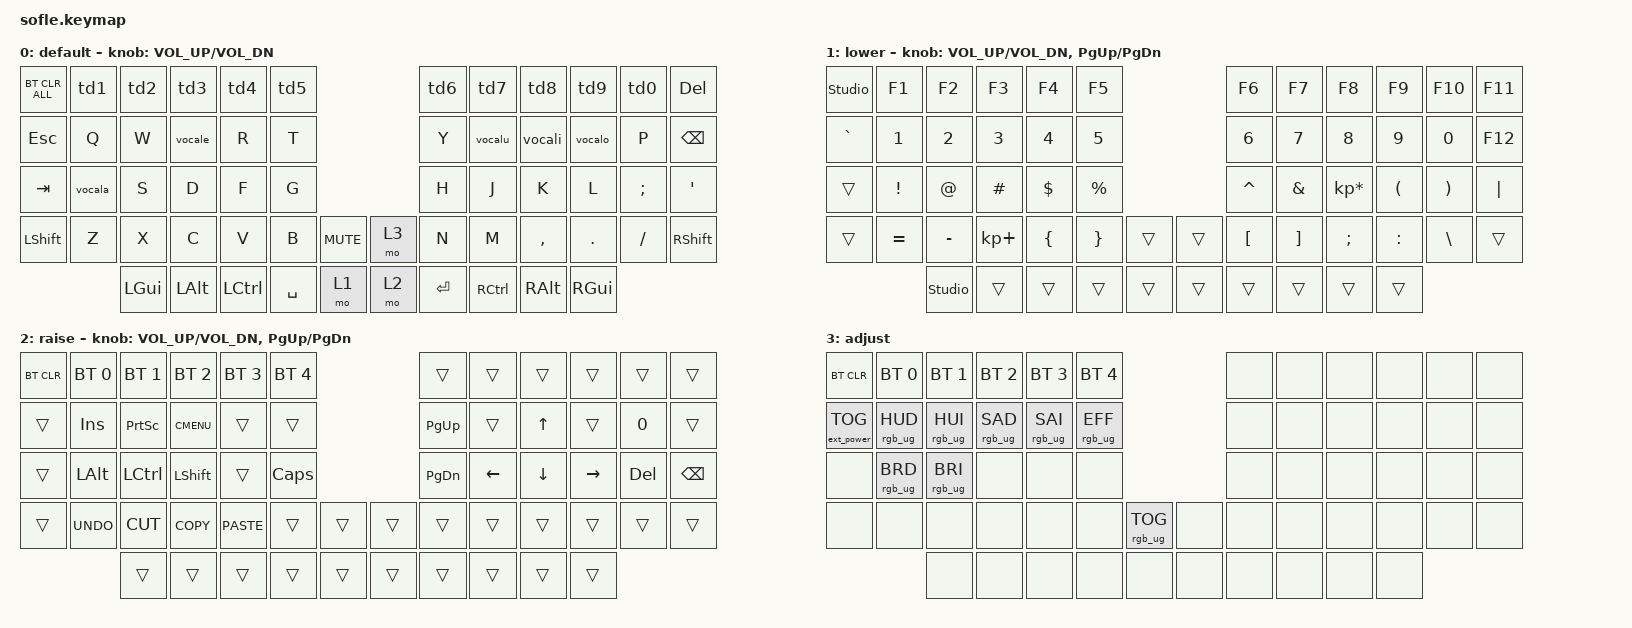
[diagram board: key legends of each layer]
/*
 * Copyright (c) 2020 The ZMK Contributors
 *
 * SPDX-License-Identifier: MIT
 */

#include <behaviors.dtsi>
#include <dt-bindings/zmk/bt.h>
#include <dt-bindings/zmk/ext_power.h>
#include <dt-bindings/zmk/keys.h>
#include <dt-bindings/zmk/pointing.h>
#include <dt-bindings/zmk/rgb.h>

#define BASE 0
#define LOWER 1
#define RAISE 2
#define ADJUST 3

/ {
    // Activate ADJUST layer by pressing raise and lower

    conditional_layers {
        compatible = "zmk,conditional-layers";

        adjust_layer {
            if-layers = <LOWER RAISE>;
            then-layer = <ADJUST>;
        };
    };

    behaviors {
        td6: tap_dance_6 {
            compatible = "zmk,behavior-tap-dance";
            #binding-cells = <0>;
            tapping-term-ms = <200>;
            bindings = <&kp NUMBER_6>, <&kp RS(NUMBER_6)>;
        };

        td1: tap_dance_1 {
            compatible = "zmk,behavior-tap-dance";
            #binding-cells = <0>;
            bindings = <&kp NUMBER_1>, <&kp RS(NUMBER_1)>;
        };

        td2: tap_dance_2 {
            compatible = "zmk,behavior-tap-dance";
            #binding-cells = <0>;
            bindings = <&kp NUMBER_2>, <&kp RS(NUMBER_2)>;
        };

        Clicks: Clicks {
            compatible = "zmk,behavior-tap-dance";
            label = "CLICKS";
            #binding-cells = <0>;
            bindings = <&mkp LCLK>, <&mkp RCLK>;
        };

        td3: td3 {
            compatible = "zmk,behavior-tap-dance";
            label = "TD3";
            #binding-cells = <0>;
            bindings = <&kp NUMBER_3>, <&kp RS(NUMBER_3)>;
        };

        td4: td4 {
            compatible = "zmk,behavior-tap-dance";
            label = "TD4";
            #binding-cells = <0>;
            bindings = <&kp NUMBER_4>, <&kp RS(NUMBER_4)>;
        };

        td5: td5 {
            compatible = "zmk,behavior-tap-dance";
            label = "TD5";
            #binding-cells = <0>;
            bindings = <&kp N5>, <&kp RS(N5)>;
        };

        td7: td7 {
            compatible = "zmk,behavior-tap-dance";
            label = "TD7";
            #binding-cells = <0>;
            bindings = <&kp N7>, <&kp RS(N7)>;
        };

        td8: td8 {
            compatible = "zmk,behavior-tap-dance";
            label = "TD8";
            #binding-cells = <0>;
            bindings = <&kp N8>, <&kp RS(N8)>;
        };

        td9: td9 {
            compatible = "zmk,behavior-tap-dance";
            label = "TD9";
            #binding-cells = <0>;
            bindings = <&kp N9>, <&kp RS(N9)>;
        };

        td0: td0 {
            compatible = "zmk,behavior-tap-dance";
            label = "TD0";
            #binding-cells = <0>;
            bindings = <&kp N0>, <&kp RS(N0)>;
        };

        tdQuest: tdQuest {
            compatible = "zmk,behavior-tap-dance";
            label = "TDQUEST";
            #binding-cells = <0>;
            bindings = <&kp RS(MINUS)>, <&kp MINUS>;
        };

        tdDot: tdDot {
            compatible = "zmk,behavior-tap-dance";
            label = "TDDOT";
            #binding-cells = <0>;
            bindings = <&kp DOT>, <&kp RS(DOT)>;
        };

        tdmouse: tdmouse {
            compatible = "zmk,behavior-sensor-rotate-var";
            label = "TDMOUSE";
            #sensor-binding-cells = <2>;
            bindings = <&msc>, <&msc>;
        };

        Arrova: Arrova {
            compatible = "zmk,behavior-tap-dance";
            label = "ARROVA";
            #binding-cells = <0>;
            bindings = <&kp Q>, <&kp RA(Q)>;
        };

        spaceEnter: spaceEnter {
            compatible = "zmk,behavior-tap-dance";
            label = "SPACEENTER";
            #binding-cells = <0>;
            bindings = <&kp SPACE>, <&kp ENTER>;
        };

        coma: coma {
            compatible = "zmk,behavior-tap-dance";
            label = "COMA";
            #binding-cells = <0>;
            bindings = <&kp COMMA>, <&kp RS(COMMA)>;
        };

        vocala: vocala {
            compatible = "zmk,behavior-tap-dance";
            label = "VOCALA";
            #binding-cells = <0>;
            bindings = <&kp A>, <&kp LEFT_BRACKET>;
        };

        vocale: vocale {
            compatible = "zmk,behavior-tap-dance";
            label = "VOCALE";
            #binding-cells = <0>;
            bindings = <&kp E>, <&kp LEFT_BRACKET>;
        };

        vocalu: vocalu {
            compatible = "zmk,behavior-tap-dance";
            label = "VOCALU";
            #binding-cells = <0>;
            bindings = <&kp U>, <&kp LEFT_BRACKET>;
        };

        vocali: vocali {
            compatible = "zmk,behavior-tap-dance";
            label = "VOCALI";
            #binding-cells = <0>;
            bindings = <&kp I>, <&kp LEFT_BRACKET>;
        };

        vocalo: vocalo {
            compatible = "zmk,behavior-tap-dance";
            label = "VOCALO";
            #binding-cells = <0>;
            bindings = <&kp O>, <&kp LEFT_BRACKET>;
        };

        pregunta: pregunta {
            compatible = "zmk,behavior-tap-dance";
            label = "PREGUNTA";
            #binding-cells = <0>;
            bindings = <&kp EQUAL>, <&kp PLUS>;
        };

        tapend: tapend {
            compatible = "zmk,behavior-tap-dance";
            label = "TAPEND";
            #binding-cells = <0>;
            bindings = <&kp RIGHT>, <&kp END>;
        };

        taphome: taphome {
            compatible = "zmk,behavior-tap-dance";
            label = "TAPHOME";
            #binding-cells = <0>;
            bindings = <&kp LEFT_ARROW>, <&kp HOME>;
        };

        tapp: tapp {
            compatible = "zmk,behavior-tap-dance";
            label = "TAPP";
            #binding-cells = <0>;
            bindings = <&kp P>, <&kp RIGHT_BRACKET>;
        };

        tdGuion: tdGuion {
            compatible = "zmk,behavior-tap-dance";
            label = "TDGUION";
            #binding-cells = <0>;
            bindings = <&kp FSLH>, <&kp RS(FSLH)>;
        };
    };

    macros {
        Empleado: Empleado {
            compatible = "zmk,behavior-macro";
            #binding-cells = <0>;
            bindings = <&kp N1 &kp N1 &kp N1 &kp N6 &kp N2 &kp N2 &kp N7>;
            label = "EMPLEADO";
        };

        Password: Password {
            compatible = "zmk,behavior-macro";
            #binding-cells = <0>;
            bindings = <&kp STAR &kp L &kp A &kp J &kp U &kp LS(R) &kp N9 &kp N9 &kp N2 &kp N4 &kp UNDER &kp D &kp F &kp LS(N) &kp E>;
            label = "PASSWORD";
        };

        Password2: Password2 {
            compatible = "zmk,behavior-macro";
            #binding-cells = <0>;
            bindings = <&kp STAR &kp L &kp A &kp J &kp U &kp LS(R) &kp N9 &kp N9 &kp N2 &kp N4>;
            label = "PASSWORD2";
        };

        gitadd: gitadd {
            compatible = "zmk,behavior-macro";
            #binding-cells = <0>;
            bindings = <&kp G &kp I &kp T &kp SPACE &kp A &kp D &kp D &kp SPACE>;
            label = "GITADD";
        };

        gitstatus: gitstatus {
            compatible = "zmk,behavior-macro";
            #binding-cells = <0>;
            bindings = <&kp G &kp I &kp T &kp SPACE &kp S &kp T &kp A &kp T &kp U &kp S &kp RET>;
            label = "GITSTATUS";
        };

        gitcommit: gitcommit {
            compatible = "zmk,behavior-macro";
            #binding-cells = <0>;
            bindings = <&kp G &kp I &kp T &kp SPACE &kp C &kp O &kp M &kp M &kp I &kp T &kp SPACE &kp MINUS &kp M &kp SPACE>;
            label = "GITCOMMIT";
        };

        gitpull: gitpull {
            compatible = "zmk,behavior-macro";
            #binding-cells = <0>;
            bindings = <&kp G &kp I &kp T &kp SPACE &kp P &kp U &kp L &kp L>;
            label = "GITPULL";
        };

        gitpush: gitpush {
            compatible = "zmk,behavior-macro";
            #binding-cells = <0>;
            bindings = <&kp G &kp I &kp T &kp SPACE &kp P &kp U &kp S &kp H>;
            label = "GITPUSH";
        };

        gitlog: gitlog {
            compatible = "zmk,behavior-macro";
            #binding-cells = <0>;
            bindings = <&kp G &kp I &kp T &kp SPACE &kp L &kp O &kp G &kp SPACE &kp MINUS &kp MINUS &kp O &kp N &kp E &kp L &kp I &kp N &kp E>;
            label = "GITLOG";
        };

        gitbranch: gitbranch {
            compatible = "zmk,behavior-macro";
            #binding-cells = <0>;
            bindings = <&kp G &kp I &kp T &kp SPACE &kp B &kp R &kp A &kp N &kp C &kp H &kp SPACE &kp MINUS &kp MINUS &kp A &kp L &kp L>;
            label = "GITBRANCH";
        };

        gitcheck: gitcheck {
            compatible = "zmk,behavior-macro";
            #binding-cells = <0>;
            bindings = <&kp G &kp I &kp T &kp SPACE &kp C &kp H &kp E &kp C &kp K &kp O &kp U &kp T &kp SPACE>;
            label = "GITCHECK";
        };
    };

    keymap {
        compatible = "zmk,keymap";

        default_layer {
            label = "default";

            // ------------------------------------------------------------------------------------------------------------
            // |   `   |  1  |  2  |  3   |  4   |  5   |                   |  6   |  7    |  8    |  9   |   0   |       |
            // |  ESC  |  Q  |  W  |  E   |  R   |  T   |                   |  Y   |  U    |  I    |  O   |   P   | BKSPC |
            // |  TAB  |  A  |  S  |  D   |  F   |  G   |                   |  H   |  J    |  K    |  L   |   ;   |   '   |
            // | SHIFT |  Z  |  X  |  C   |  V   |  B   |  MUTE  |  |       |  N   |  M    |  ,    |  .   |   /   | SHIFT |
            //               | GUI | ALT  | CTRL | LOWER|  ENTER |  | SPACE | RAISE| CTRL  | ALT   | GUI  |

            bindings = <
&bt BT_CLR_ALL  &td1     &td2      &td3      &td4       &td5                            &td6       &td7       &td8       &td9      &td0      &kp DELETE
&kp ESC         &kp Q    &kp W     &vocale   &kp R      &kp T                           &kp Y      &vocalu    &vocali    &vocalo   &kp P     &kp BSPC
&kp TAB         &vocala  &kp S     &kp D     &kp F      &kp G                           &kp H      &kp J      &kp K      &kp L     &kp SEMI  &kp SQT
&kp LSHFT       &kp Z    &kp X     &kp C     &kp V      &kp B      &kp C_MUTE    &mo 3  &kp N      &kp M      &kp COMMA  &kp DOT   &kp FSLH  &kp RSHFT
                         &kp LGUI  &kp LALT  &kp LCTRL  &kp SPACE  &mo 1         &mo 2  &kp ENTER  &kp RCTRL  &kp RALT   &kp RGUI
            >;

            sensor-bindings = <&inc_dec_kp C_VOL_UP C_VOL_DN>;
        };

        lower_layer {
            label = "lower";

            // TODO: Some binds are waiting for shifted keycode support.
            // ------------------------------------------------------------------------------------------------------------
            // |       |  F1 |  F2 |  F3  |  F4  |  F5  |                   |  F6  |  F7   |  F8   |  F9  |  F10  |  F11  |
            // |   `   |  1  |  2  |  3   |  4   |  5   |                   |  6   |  7    |  8    |  9   |   0   |  F12  |
            // |       |  !  |  @  |  #   |  $   |  %   |                   |  ^   |  &    |  *    |  (   |   )   |   |   |
            // |       |  =  |  -  |  +   |  {   |  }   |        |  |       |  [   |  ]    |  ;    |  :   |   \   |       |
            //               |     |      |      |      |        |  |       |      |       |       |      |

            bindings = <
&studio_unlock  &kp F1     &kp F2          &kp F3       &kp F4    &kp F5                       &kp F6     &kp F7    &kp F8           &kp F9     &kp F10   &kp F11
&kp GRAVE       &kp N1     &kp N2          &kp N3       &kp N4    &kp N5                       &kp N6     &kp N7    &kp N8           &kp N9     &kp N0    &kp F12
&trans          &kp EXCL   &kp AT          &kp HASH     &kp DLLR  &kp PRCNT                    &kp CARET  &kp AMPS  &kp KP_MULTIPLY  &kp LPAR   &kp RPAR  &kp PIPE
&trans          &kp EQUAL  &kp MINUS       &kp KP_PLUS  &kp LBRC  &kp RBRC   &trans    &trans  &kp LBKT   &kp RBKT  &kp SEMI         &kp COLON  &kp BSLH  &trans
                           &studio_unlock  &trans       &trans    &trans     &trans    &trans  &trans     &trans    &trans           &trans
            >;

            sensor-bindings = <&inc_dec_kp C_VOL_UP C_VOL_DN &inc_dec_kp PG_UP PG_DN>;
        };

        raise_layer {
            label = "raise";

            // ------------------------------------------------------------------------------------------------------------
            // | BTCLR | BT1  | BT2  |  BT3  |  BT4  |  BT5 |                |      |      |       |      |       |       |
            // |       | INS  | PSCR | GUI   |       |      |                | PGUP |      |   ^   |      |       |       |
            // |       | ALT  | CTRL | SHIFT |       | CAPS |                | PGDN |   <- |   v   |  ->  |  DEL  | BKSPC |
            // |       | UNDO | CUT  | COPY  | PASTE |      |      |  |      |      |      |       |      |       |       |
            //                |      |       |       |      |      |  |      |      |      |       |      |

            bindings = <
&bt BT_CLR  &bt BT_SEL 0  &bt BT_SEL 1  &bt BT_SEL 2  &bt BT_SEL 3  &bt BT_SEL 4                    &trans     &trans    &trans    &trans     &trans   &trans
&trans      &kp INS       &kp PSCRN     &kp K_CMENU   &trans        &trans                          &kp PG_UP  &trans    &kp UP    &trans     &kp N0   &trans
&trans      &kp LALT      &kp LCTRL     &kp LSHFT     &trans        &kp CLCK                        &kp PG_DN  &kp LEFT  &kp DOWN  &kp RIGHT  &kp DEL  &kp BSPC
&trans      &kp K_UNDO    &kp K_CUT     &kp K_COPY    &kp K_PASTE   &trans        &trans    &trans  &trans     &trans    &trans    &trans     &trans   &trans
                          &trans        &trans        &trans        &trans        &trans    &trans  &trans     &trans    &trans    &trans
            >;

            sensor-bindings = <&inc_dec_kp C_VOL_UP C_VOL_DN &inc_dec_kp PG_UP PG_DN>;
        };

        adjust_layer {
            // ----------------------------------------------------------------------------------------------------------------------------
            // | BTCLR  |  BT1    |  BT2    |   BT3   |   BT4   |   BT5   |                  |      |      |       |      |       |       |
            // | EXTPWR | RGB_HUD | RGB_HUI | RGB_SAD | RGB_SAI | RGB_EFF |                  |      |      |       |      |       |       |
            // |        | RGB_BRD | RGB_BRI |         |         |         |                  |      |      |       |      |       |       |
            // |        |         |         |         |         |         | RGB_TOG | |      |      |      |       |      |       |       |
            //                    |         |         |         |         |         | |      |      |      |       |      |

            label = "adjust";
            bindings = <
&bt BT_CLR         &bt BT_SEL 0     &bt BT_SEL 1     &bt BT_SEL 2     &bt BT_SEL 3     &bt BT_SEL 4                               &none  &none  &none  &none  &none  &none
&ext_power EP_TOG  &rgb_ug RGB_HUD  &rgb_ug RGB_HUI  &rgb_ug RGB_SAD  &rgb_ug RGB_SAI  &rgb_ug RGB_EFF                            &none  &none  &none  &none  &none  &none
&none              &rgb_ug RGB_BRD  &rgb_ug RGB_BRI  &none            &none            &none                                      &none  &none  &none  &none  &none  &none
&none              &none            &none            &none            &none            &none            &rgb_ug RGB_TOG    &none  &none  &none  &none  &none  &none  &none
                                    &none            &none            &none            &none            &none              &none  &none  &none  &none  &none
            >;
        };
    };
};
